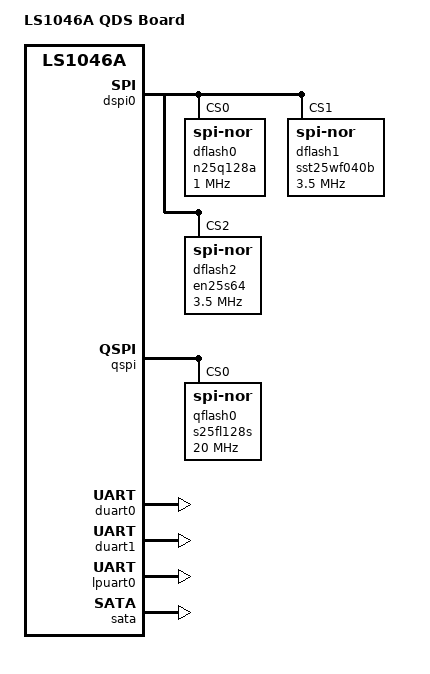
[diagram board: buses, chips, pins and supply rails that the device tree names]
// SPDX-License-Identifier: GPL-2.0+ OR X11
/*
 * Device Tree Include file for Freescale Layerscape-1046A family SoC.
 *
 * Copyright (C) 2016, Freescale Semiconductor
 *
 * Mingkai Hu <Mingkai.hu@nxp.com>
 */

/include/ "fsl-ls1046a.dtsi"

/ {
	model = "LS1046A QDS Board";
	aliases {
		spi0 = &qspi;
		spi1 = &dspi0;
	};
};

&dspi0 {
	bus-num = <0>;
	status = "okay";

	dflash0: n25q128a {
		#address-cells = <1>;
		#size-cells = <1>;
		compatible = "jedec,spi-nor";
		spi-max-frequency = <1000000>; /* input clock */
		spi-cpol;
		spi-cpha;
		reg = <0>;
	};

	dflash1: sst25wf040b {
		#address-cells = <1>;
		#size-cells = <1>;
		compatible = "jedec,spi-nor";
		spi-max-frequency = <3500000>;
		spi-cpol;
		spi-cpha;
		reg = <1>;
	};

	dflash2: en25s64 {
		#address-cells = <1>;
		#size-cells = <1>;
		compatible = "jedec,spi-nor";
		spi-max-frequency = <3500000>;
		spi-cpol;
		spi-cpha;
		reg = <2>;
	};
};

&qspi {
	bus-num = <0>;
	status = "okay";

	qflash0: s25fl128s@0 {
		#address-cells = <1>;
		#size-cells = <1>;
		compatible = "jedec,spi-nor";
		spi-max-frequency = <20000000>;
		reg = <0>;
	};
};

&duart0 {
	status = "okay";
};

&duart1 {
	status = "okay";
};

&lpuart0 {
	status = "okay";
};

&sata {
	status = "okay";
};
